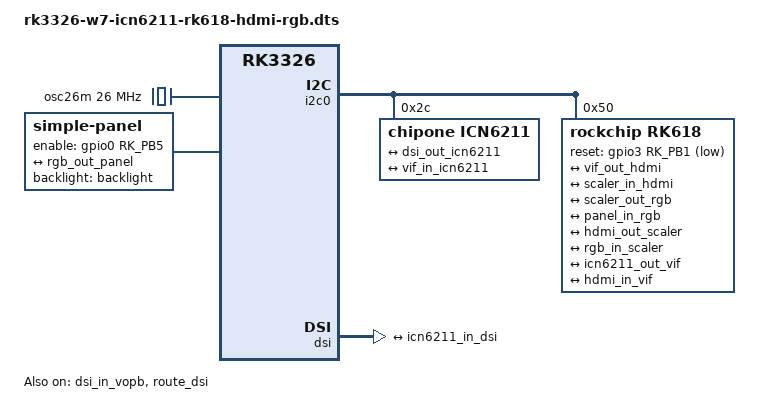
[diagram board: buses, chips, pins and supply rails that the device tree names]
// SPDX-License-Identifier: GPL-2.0
/*
 * Copyright (c) 2018 Fuzhou Rockchip Electronics Co., Ltd
 */

/dts-v1/;
#include <dt-bindings/clock/rk618-cru.h>
#include "rk3326-w7.dtsi"

/ {
	osc26m: osc26m {
		compatible = "fixed-clock";
		#clock-cells = <0>;
		clock-frequency = <26000000>;
	};

	panel {
		compatible = "simple-panel";
		backlight = <&backlight>;
		enable-gpios = <&gpio0 RK_PB5 GPIO_ACTIVE_HIGH>;
		enable-delay-ms = <20>;
		prepare-delay-ms = <20>;
		unprepare-delay-ms = <20>;
		disable-delay-ms = <20>;
		bus-format = <MEDIA_BUS_FMT_RGB666_1X24_CPADHI>;

		width-mm = <154>;
		height-mm = <86>;

		display-timings {
			native-mode = <&timing0>;

			timing0: timing0 {
				clock-frequency = <48000000>;
				hactive = <1024>;
				vactive = <600>;
				hback-porch = <90>;
				hfront-porch = <90>;
				vback-porch = <10>;
				vfront-porch = <10>;
				hsync-len = <90>;
				vsync-len = <10>;
				hsync-active = <0>;
				vsync-active = <0>;
				de-active = <0>;
				pixelclk-active = <0>;
			};
		};

		port {
			panel_in_rgb: endpoint {
				remote-endpoint = <&rgb_out_panel>;
			};
		};
	};
};

&dmc {
	auto-freq-en = <0>;
};

&i2c0 {
	status = "okay";

	icn6211@2c {
		compatible = "chipone,icn6211";
		reg = <0x2c>;
		clocks = <&osc26m>;
		clock-names = "refclk";

		ports {
			#address-cells = <1>;
			#size-cells = <0>;

			port@0 {
				reg = <0>;

				icn6211_in_dsi: endpoint {
					remote-endpoint = <&dsi_out_icn6211>;
				};
			};

			port@1 {
				reg = <1>;

				icn6211_out_vif: endpoint {
					remote-endpoint = <&vif_in_icn6211>;
				};
			};
		};
	};

	rk618@50 {
		compatible = "rockchip,rk618";
		reg = <0x50>;
		pinctrl-names = "default";
		pinctrl-0 = <&i2s1_2ch_mclk>;
		clocks = <&cru SCLK_I2S1_OUT>;
		clock-names = "clkin";
		assigned-clocks = <&cru SCLK_I2S1_OUT>;
		assigned-clock-rates = <12000000>;
		reset-gpios = <&gpio3 RK_PB1 GPIO_ACTIVE_LOW>;
		status = "okay";

		clock: cru {
			compatible = "rockchip,rk618-cru";
			clocks = <&cru SCLK_I2S1_OUT>, <&cru DCLK_VOPB>;
			clock-names = "clkin", "lcdc0_dclkp";
			assigned-clocks = <&clock SCALER_PLLIN_CLK>,
					  <&clock VIF_PLLIN_CLK>,
					  <&clock SCALER_CLK>,
					  <&clock VIF0_PRE_CLK>,
					  <&clock CODEC_CLK>,
					  <&clock DITHER_CLK>;
			assigned-clock-parents = <&cru SCLK_I2S1_OUT>,
						 <&cru SCLK_I2S1_OUT>,
						 <&clock SCALER_PLL_CLK>,
						 <&clock VIF_PLL_CLK>,
						 <&cru SCLK_I2S1_OUT>,
						 <&clock VIF0_CLK>;
			#clock-cells = <1>;
			status = "okay";
		};

		hdmi {
			compatible = "rockchip,rk618-hdmi";
			clocks = <&clock HDMI_CLK>;
			clock-names = "hdmi";
			assigned-clocks = <&clock HDMI_CLK>;
			assigned-clock-parents = <&clock VIF0_CLK>;
			interrupt-parent = <&gpio2>;
			interrupts = <13 IRQ_TYPE_LEVEL_HIGH>;
			status = "okay";

			ports {
				#address-cells = <1>;
				#size-cells = <0>;

				port@0 {
					reg = <0>;

					hdmi_in_vif: endpoint {
						remote-endpoint = <&vif_out_hdmi>;
					};
				};

				port@1 {
					reg = <1>;

					hdmi_out_scaler: endpoint {
						remote-endpoint = <&scaler_in_hdmi>;
					};
				};
			};
		};

		rgb {
			compatible = "rockchip,rk618-rgb";
			clocks = <&clock RGB_CLK>;
			clock-names = "rgb";
			status = "okay";

			ports {
				#address-cells = <1>;
				#size-cells = <0>;

				port@0 {
					reg = <0>;

					rgb_in_scaler: endpoint {
						remote-endpoint = <&scaler_out_rgb>;
					};
				};

				port@1 {
					reg = <1>;

					rgb_out_panel: endpoint {
						remote-endpoint = <&panel_in_rgb>;
					};
				};
			};
		};

		scaler {
			compatible = "rockchip,rk618-scaler";
			clocks = <&clock SCALER_CLK>, <&clock VIF0_CLK>,
				 <&clock DITHER_CLK>;
			clock-names = "scaler", "vif", "dither";
			status = "okay";

			ports {
				#address-cells = <1>;
				#size-cells = <0>;

				port@0 {
					reg = <0>;

					scaler_in_hdmi: endpoint {
						remote-endpoint = <&hdmi_out_scaler>;
					};
				};

				port@1 {
					reg = <1>;

					scaler_out_rgb: endpoint {
						remote-endpoint = <&rgb_in_scaler>;
					};
				};
			};
		};

		vif {
			compatible = "rockchip,rk618-vif";
			clocks = <&clock VIF0_CLK>, <&clock VIF0_PRE_CLK>;
			clock-names = "vif", "vif_pre";
			status = "okay";

			ports {
				#address-cells = <1>;
				#size-cells = <0>;

				port@0 {
					reg = <0>;

					vif_in_icn6211: endpoint {
						remote-endpoint = <&icn6211_out_vif>;
					};
				};

				port@1 {
					reg = <1>;

					vif_out_hdmi: endpoint {
						remote-endpoint = <&hdmi_in_vif>;
					};
				};
			};
		};
	};
};

&dsi {
	status = "okay";

	ports {
		port@1 {
			reg = <1>;

			dsi_out_icn6211: endpoint {
				remote-endpoint = <&icn6211_in_dsi>;
			};
		};
	};
};

&dsi_in_vopb {
	status = "okay";
};

&dsi_in_vopl {
	status = "disabled";
};

&route_dsi {
	connect = <&vopb_out_dsi>;
	status = "okay";
};
